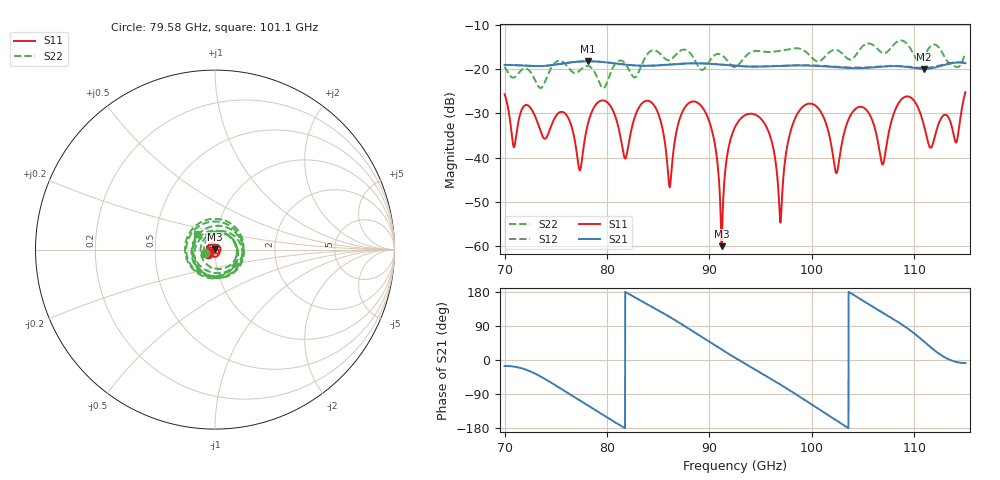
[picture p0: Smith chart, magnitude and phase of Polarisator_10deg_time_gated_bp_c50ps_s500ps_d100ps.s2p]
# Hz S RI R 1.000000
! Metas.Vna.Tools, 2.4.7898.19887
! Metas.Vna.Data, 2.4.7898.19873
! Created: UTC 2021.09.30 14:30:59
! FREQ  re:S1,1  im:S1,1  re:S2,1  im:S2,1  re:S1,2  im:S1,2  re:S2,2  im:S2,2
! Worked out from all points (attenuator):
!   2251 points, 70 GHz to 115 GHz, reference 1 ohm
!   highest |S21| = -18.25 dB at 78.14 GHz (marker M1); lowest = -20.0 dB at 111 GHz (marker M2)
!   lowest |S11| = -60.0 dB at 91.2 GHz (marker M3), VSWR 1.00, Z = 1 + j0.00196 ohm
!   |S11| at or under -10 dB: start of sweep to end of sweep
!   |S22| runs from -24.4 to -13.5 dB; largest |S21 - S12| = 0.019
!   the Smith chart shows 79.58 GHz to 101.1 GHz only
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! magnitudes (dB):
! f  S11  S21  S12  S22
! 70 GHz  -25.7  -19.1  -19.1  -19.5
! 70.9 GHz  -37.7  -19.1  -19.1  -21.9
! 75.68 GHz  -29.7  -18.8  -18.7  -18.4
! 77.5 GHz  -41.4  -18.3  -18.3  -20.0
! 78.14 GHz  -32.3  -18.2  -18.2  -19.3
! 81.78 GHz  -40.2  -19.0  -19.0  -18.8
! 85 GHz  -30.0  -19.2  -19.2  -16.2
! 86.12 GHz  -46.7  -19.0  -19.0  -18.0
! 87.4 GHz  -29.5  -18.8  -18.8  -15.6
! 89.42 GHz  -29.0  -18.7  -18.7  -20.1
! 91.2 GHz  -60.0  -19.0  -19.0  -16.8
! 92.5 GHz  -33.1  -19.3  -19.3  -19.5
! 95.44 GHz  -32.5  -19.4  -19.4  -16.1
! 96.94 GHz  -54.7  -19.3  -19.2  -15.9
! 98.04 GHz  -33.2  -19.2  -19.1  -15.4
! 100 GHz  -27.9  -19.2  -19.2  -17.4
! 102.4 GHz  -43.5  -19.6  -19.5  -15.7
! 104.4 GHz  -28.8  -19.8  -19.7  -16.6
! 107.5 GHz  -34.6  -19.4  -19.3  -15.8
! 111 GHz  -33.0  -20.0  -19.7  -17.0
! 114.1 GHz  -36.6  -18.6  -18.5  -19.5
! 115 GHz  -25.2  -18.7  -18.6  -16.3
